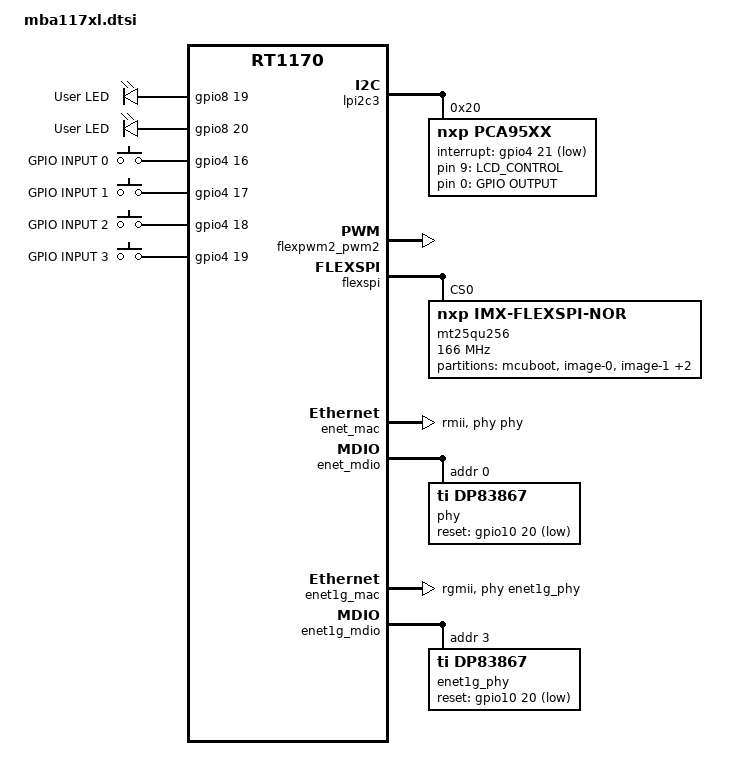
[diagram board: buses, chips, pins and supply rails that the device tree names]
/*!
 * Copyright (c) 2025 TQ-Systems GmbH <oss@ew.tq-group.com>
 * SPDX-License-Identifier: Apache 2.0
 * Author: Isaac L. L. Yuki
 */

#include <nxp/nxp_rt1170.dtsi>
#include "mba117xl-pinctrl.dtsi"
#include <zephyr/dt-bindings/input/input-event-codes.h>

/ {
	aliases {
		led0 = &user_led0;
		led1 = &user_led1;
		sw0  = &key0;
		i2c-peripheral-3 = &lpi2c3;
		i2c-peripheral-5 = &lpi2c5;
		i2c-peripheral-6 = &lpi2c6;
	};

	gpio_out: gpio_out {
		compatible = "gpio-leds";
		user_led0: led-1 {
			gpios = <&gpio8 19 GPIO_ACTIVE_HIGH>;
			label = "User LED";
		};

		user_led1: led-2 {
			gpios = <&gpio8 20 GPIO_ACTIVE_HIGH>;
			label = "User LED";
		};

		lcdControl: lcd-control{
            gpios = <&pca95xx 9 GPIO_ACTIVE_HIGH>,
			<&pca95xx 10 GPIO_ACTIVE_LOW>,
			<&pca95xx 11 GPIO_ACTIVE_HIGH>,
			<&pca95xx 13 GPIO_ACTIVE_HIGH>;	/* MIPI_SEL */
            label = "LCD_CONTROL";
            };

		portExpander: portExpander {
			gpios = <&pca95xx 0 GPIO_ACTIVE_HIGH>,
					<&pca95xx 1 GPIO_ACTIVE_HIGH>,
					<&pca95xx 2 GPIO_ACTIVE_HIGH>,
					<&pca95xx 3 GPIO_ACTIVE_HIGH>;

			label = "GPIO OUTPUT";
		};
	};

	gpio_in: gpio_in {
		compatible = "gpio-keys";
		key0: key0 {
			gpios = <&gpio4 16 GPIO_ACTIVE_HIGH>;
			label = "GPIO INPUT 0";
			zephyr,code = <INPUT_KEY_0>;
		};
		key1: key1 {
			gpios = <&gpio4 17 GPIO_ACTIVE_HIGH>;
			label = "GPIO INPUT 1";
			zephyr,code = <INPUT_KEY_1>;
		};
		key2: key2 {
			gpios = <&gpio4 18 GPIO_ACTIVE_HIGH>;
			label = "GPIO INPUT 2";
			zephyr,code = <INPUT_KEY_2>;
		};
		key3: key3 {
			gpios = <&gpio4 19 GPIO_ACTIVE_HIGH>;
			label = "GPIO INPUT 3";
			zephyr,code = <INPUT_KEY_3>;
		};
	};
};

&lcdif {
	pinctrl-0 = <&pinmux_lcdif>;
	pinctrl-names = "default";
};

&lpuart1 {
	pinctrl-0 = <&pinmux_lpuart1>;
	pinctrl-names = "default";
};

&lpi2c6 {
	pinctrl-0 = <&pinmux_lpi2c6>;
	pinctrl-names = "default";
};

&lpi2c5 {
	pinctrl-0 = <&pinmux_lpi2c5>;
	pinctrl-names = "default";
};

&lpi2c3 {
	pinctrl-0 = <&pinmux_lpi2c3>;
	pinctrl-names = "default";
	status = "okay";
	pca95xx: pca95xx@20 {
		compatible = "nxp,pca95xx";
		reg = <0x20>; // The I2C address of the pca95xx
		#gpio-cells = <2>;
		gpio-controller;
		ngpios = <16>;
		interrupt-gpios = <&gpio4 21 GPIO_ACTIVE_LOW>;
		status = "okay";
	};
};

&flexpwm2_pwm2 {
	status = "okay";
	pinctrl-0 = <&pinmux_pwm2_pwm2>;
	pinctrl-names = "default";
};

&flexspi {
	pinctrl-0 = <&pinmux_flexspi1>;
	pinctrl-names = "default";
	ahb-prefetch;
	ahb-read-addr-opt;
	rx-clock-source = <1>;
	status = "okay";
	reg = <0x400cc000 0x4000>, <0x30000000 DT_SIZE_M(64)>;
	mt25qu256:mt25qu256@0 {
		compatible = "nxp,imx-flexspi-nor";  // Use your driver's compatible string
		size = <DT_SIZE_M(256)>;  // Size of MT25QU256ABA8E12-1SIT
		reg = <0>; //CS-line
		spi-max-frequency = <166000000>;  // Max SPI frequency in STR mode
		status = "okay";
		jedec-id = [ba 19 00];  // JEDEC ID
		erase-block-size = <65536>;  // 64KB sector erase granularity
		write-block-size = <1>;  // Minimum write block size

		/*
			* Partitions are present to support dual core operation.
			* as flash write is not supported, MCUBoot is not enabled.
			*/
		partitions {
			compatible = "fixed-partitions";
			#address-cells = <1>;
			#size-cells = <1>;

			boot_partition: partition@0 {
				label = "mcuboot";
				reg = <0x00000000 DT_SIZE_K(128)>;
			};
			/* Note slot 0 has one additional sector,
				* this is intended for use with the swap move algorithm
				*/
			slot0_partition: partition@20000 {
				label = "image-0";
				reg = <0x00020000 0x301000>;
			};
			slot1_partition: partition@321000 {
				label = "image-1";
				reg = <0x00321000 0x300000>;
			};
			scratch_partition: partition@621000 {
				label = "image-scratch";
				reg = <0x00621000 DT_SIZE_K(128)>;
			};
			storage_partition: partition@641000 {
				label = "storage";
				reg = <0x00641000 DT_SIZE_K(1856)>;
			};
		};
	};
};

&enet_mac {
status = "okay";
pinctrl-0 = <&pinmux_enet_qos>;
pinctrl-names = "default";
phy-handle = <&phy>;
phy-connection-type = "rmii";
zephyr,random-mac-address;
};

&enet_mdio {
	status = "okay";
	pinctrl-0 = <&pinmux_enet_qos_mdio>;
	pinctrl-names = "default";
	phy: phy@0 {
		compatible = "ti,dp83867";
		reg = <0>;
		status = "okay";
		reset-gpios = <&gpio10 20 GPIO_ACTIVE_LOW>;
	};
};

&enet_ptp_clock {
	status = "okay";
	pinctrl-0 = <&pinmux_enet_qos_ptp>;
	pinctrl-names = "default";
};

&enet1g_mac {
	status = "okay";
	pinctrl-0 = <&pinmux_enet1g>;
	pinctrl-names = "default";
	phy-handle = <&enet1g_phy>;
	phy-connection-type = "rgmii";
	zephyr,random-mac-address;
};

&enet1g_mdio {
	status = "okay";
	pinctrl-0 = <&pinmux_enet1g_mdio>;
	pinctrl-names = "default";
	enet1g_phy: phy@3 {
		compatible = "ti,dp83867";
		reg = <3>;
		status = "okay";
		reset-gpios = <&gpio10 20 GPIO_ACTIVE_LOW>;
		fixed-link = "1000BASE-T Full-Duplex";
	};
};

&enet1g_ptp_clock {
	status = "okay";
	pinctrl-0 = <&pinmux_enet1g_ptp>;
	pinctrl-names = "default";
};

&flexcan2 {
	pinctrl-0 = <&pinmux_flexcan2>;
	pinctrl-names = "default";
};

&flexcan3 {
	pinctrl-0 = <&pinmux_flexcan3>;
	pinctrl-names = "default";
};
